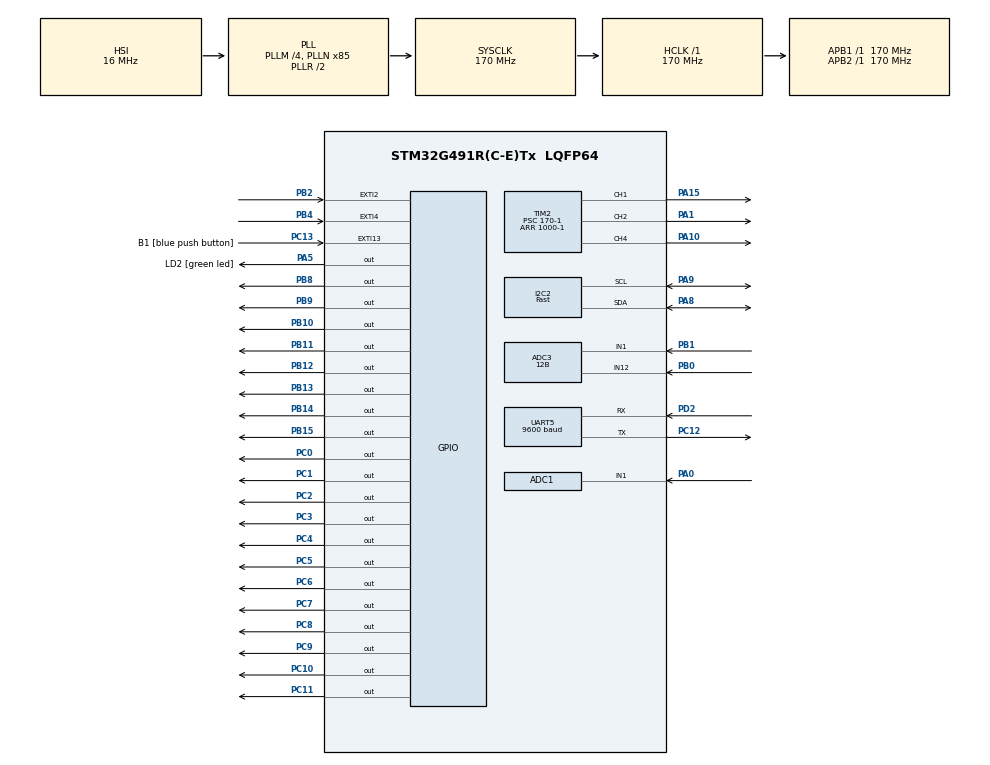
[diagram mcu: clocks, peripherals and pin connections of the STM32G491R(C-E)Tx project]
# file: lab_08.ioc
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ADC1.Channel-0\#ChannelRegularConversion=ADC_CHANNEL_1
ADC1.NbrOfConversion=1
ADC1.NbrOfConversionFlag=1
ADC1.OffsetNumber-0\#ChannelRegularConversion=ADC_OFFSET_NONE
ADC1.Rank-0\#ChannelRegularConversion=1
ADC1.Resolution=ADC_RESOLUTION_10B
ADC1.SamplingTime-0\#ChannelRegularConversion=ADC_SAMPLETIME_2CYCLES_5
ADC1.master=1
ADC3.Channel-0\#ChannelRegularConversion=ADC_CHANNEL_1
ADC3.Channel-1\#ChannelRegularConversion=ADC_CHANNEL_12
ADC3.ContinuousConvMode=DISABLE
ADC3.DiscontinuousConvMode=ENABLE
ADC3.LowPowerAutoWait=DISABLE
ADC3.NbrOfConversion=2
ADC3.NbrOfConversionFlag=1
ADC3.OffsetNumber-0\#ChannelRegularConversion=ADC_OFFSET_NONE
ADC3.OffsetNumber-1\#ChannelRegularConversion=ADC_OFFSET_NONE
ADC3.Rank-0\#ChannelRegularConversion=1
ADC3.Rank-1\#ChannelRegularConversion=2
ADC3.Resolution=ADC_RESOLUTION_12B
ADC3.SamplingTime-0\#ChannelRegularConversion=ADC_SAMPLETIME_2CYCLES_5
ADC3.SamplingTime-1\#ChannelRegularConversion=ADC_SAMPLETIME_2CYCLES_5
ADC3.master=1
I2C2.I2C_Speed_Mode=I2C_Fast
I2C2.Timing=0x40621236
Mcu.Family=STM32G4
Mcu.Name=STM32G491R(C-E)Tx
Mcu.Package=LQFP64
NVIC.ADC1_2_IRQn=true\:0\:0\:false\:false\:true\:true\:true\:true
NVIC.ADC3_IRQn=true\:0\:0\:false\:false\:true\:true\:true\:true
NVIC.EXTI15_10_IRQn=true\:0\:0\:false\:false\:true\:true\:true\:true
NVIC.EXTI2_IRQn=true\:0\:0\:false\:false\:true\:true\:true\:true
NVIC.EXTI4_IRQn=true\:0\:0\:false\:false\:true\:true\:true\:true
NVIC.I2C2_ER_IRQn=true\:0\:0\:false\:false\:true\:true\:true\:true
NVIC.I2C2_EV_IRQn=true\:0\:0\:false\:false\:true\:true\:true\:true
NVIC.PriorityGroup=NVIC_PRIORITYGROUP_4
NVIC.TIM1_UP_TIM16_IRQn=true\:0\:0\:false\:false\:true\:true\:true\:true
NVIC.TIM2_IRQn=true\:0\:0\:false\:false\:true\:true\:true\:true
NVIC.TIM3_IRQn=true\:0\:0\:false\:false\:true\:true\:true\:true
NVIC.TIM4_IRQn=true\:0\:0\:false\:false\:true\:true\:true\:true
NVIC.TIM8_CC_IRQn=true\:0\:0\:false\:false\:true\:true\:true\:true
NVIC.TIM8_UP_IRQn=true\:0\:0\:false\:false\:true\:true\:true\:true
NVIC.UART5_IRQn=true\:0\:0\:false\:false\:true\:true\:true\:true
PA0.Mode=IN1-Single-Ended
PA0.Signal=ADC1_IN1
PA1.Signal=S_TIM2_CH2
PA10.Signal=S_TIM2_CH4
PA13.GPIO_Label=T_SWDIO
PA13.Signal=SYS_JTMS-SWDIO
PA14.GPIO_Label=T_SWCLK
PA14.Signal=SYS_JTCK-SWCLK
PA15.Signal=S_TIM2_CH1
PA2.GPIO_Label=LPUART1_TX [STLINKV3E_VCP_RX]
PA2.Signal=LPUART1_TX
PA3.GPIO_Label=LPUART1_RX [STLINKV3E_VCP_TX]
PA3.Signal=LPUART1_RX
PA5.GPIO_Label=LD2 [green led]
PA5.Signal=GPIO_Output
PA8.GPIO_Pu=GPIO_PULLUP
PA8.GPIO_Speed=GPIO_SPEED_FREQ_HIGH
PA8.Mode=I2C
PA8.Signal=I2C2_SDA
PA9.GPIO_Pu=GPIO_PULLUP
PA9.GPIO_Speed=GPIO_SPEED_FREQ_HIGH
PA9.Mode=I2C
PA9.Signal=I2C2_SCL
PB0.Mode=IN12-Single-Ended
PB0.Signal=ADC3_IN12
PB1.Mode=IN1-Single-Ended
PB1.Signal=ADC3_IN1
PB10.Signal=GPIO_Output
PB11.Signal=GPIO_Output
PB12.Signal=GPIO_Output
PB13.Signal=GPIO_Output
PB14.Signal=GPIO_Output
PB15.Signal=GPIO_Output
PB2.Signal=GPXTI2
PB3.GPIO_Label=T_SWO
PB3.Signal=SYS_JTDO-SWO
PB4.Signal=GPXTI4
PB8-BOOT0.Signal=GPIO_Output
PB9.Signal=GPIO_Output
PC0.Signal=GPIO_Output
PC1.Signal=GPIO_Output
PC10.Signal=GPIO_Output
PC11.Signal=GPIO_Output
PC12.Mode=Asynchronous
PC12.Signal=UART5_TX
PC13.GPIO_Label=B1 [blue push button]
PC13.Signal=GPXTI13
PC14-OSC32_IN.GPIO_Label=RCC_OSC32_IN
PC14-OSC32_IN.Signal=RCC_OSC32_IN
PC15-OSC32_OUT.GPIO_Label=RCC_OSC32_OUT
PC15-OSC32_OUT.Signal=RCC_OSC32_OUT
PC2.Signal=GPIO_Output
PC3.Signal=GPIO_Output
PC4.Signal=GPIO_Output
PC5.Signal=GPIO_Output
PC6.Signal=GPIO_Output
PC7.Signal=GPIO_Output
PC8.Signal=GPIO_Output
PC9.Signal=GPIO_Output
PD2.Mode=Asynchronous
PD2.Signal=UART5_RX
PF0-OSC_IN.GPIO_Label=RCC_OSC_IN
PF0-OSC_IN.Signal=RCC_OSC_IN
PF1-OSC_OUT.GPIO_Label=RCC_OSC_OUT
PF1-OSC_OUT.Signal=RCC_OSC_OUT
ProjectManager.HeapSize=0x200
ProjectManager.StackSize=0x400
ProjectManager.TargetToolchain=STM32CubeIDE
RCC.ADC12Freq_Value=170000000
RCC.ADC345Freq_Value=170000000
RCC.AHBFreq_Value=170000000
RCC.APB1Freq_Value=170000000
RCC.APB1TimFreq_Value=170000000
RCC.APB2Freq_Value=170000000
RCC.APB2TimFreq_Value=170000000
RCC.CortexFreq_Value=170000000
RCC.EXTERNAL_CLOCK_VALUE=12288000
RCC.HCLKFreq_Value=170000000
RCC.HSE_VALUE=24000000
RCC.HSI48_VALUE=48000000
RCC.HSI_VALUE=16000000
RCC.LSE_VALUE=32768
RCC.PLLM=RCC_PLLM_DIV4
RCC.PLLN=85
RCC.RTCClockSelection=RCC_RTCCLKSOURCE_LSE
RCC.SYSCLKFreq_VALUE=170000000
RCC.SYSCLKSource=RCC_SYSCLKSOURCE_PLLCLK
RCC.USBFreq_Value=48000000
RCC.VCOOutputFreq_Value=340000000
SH.S_TIM2_CH1.0=TIM2_CH1,PWM Generation1 CH1
SH.S_TIM2_CH2.0=TIM2_CH2,PWM Generation2 CH2
SH.S_TIM2_CH4.0=TIM2_CH4,PWM Generation4 CH4
TIM1.PeriodNoDither=2000-1
TIM1.Prescaler=1700-1
TIM2.Channel-PWM\ Generation1\ CH1=TIM_CHANNEL_1
TIM2.Channel-PWM\ Generation2\ CH2=TIM_CHANNEL_2
TIM2.Channel-PWM\ Generation4\ CH4=TIM_CHANNEL_4
TIM2.PeriodNoDither=1000-1
TIM2.Prescaler=170-1
TIM3.PeriodNoDither=10000-1
TIM3.Prescaler=170-1
TIM4.PeriodNoDither=1000-1
TIM4.Prescaler=170-1
TIM8.PeriodNoDither=10000-1
TIM8.Prescaler=1700-1
UART5.BaudRate=9600
VP_SYS_VS_DBSignals.Mode=DisableDeadBatterySignals
VP_TIM1_VS_ClockSourceINT.Mode=Internal
VP_TIM2_VS_ClockSourceINT.Mode=Internal
VP_TIM3_VS_ClockSourceINT.Mode=Internal
VP_TIM4_VS_ClockSourceINT.Mode=Internal
VP_TIM8_VS_ClockSourceINT.Mode=Internal
board=NUCLEO-G491RE

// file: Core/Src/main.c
/* USER CODE BEGIN Header */
/**
  ******************************************************************************
  * @file           : main.c
  * @brief          : Main program body
  ******************************************************************************
  * @attention
  *
  * Copyright (c) 2025 STMicroelectronics.
  * All rights reserved.
  *
  * This software is licensed under terms that can be found in the LICENSE file
  * in the root directory of this software component.
  * If no LICENSE file comes with this software, it is provided AS-IS.
  *
  ******************************************************************************
  */
/* USER CODE END Header */
#include "main.h"

/* USER CODE BEGIN Includes */
#include <string.h>
#include <stdio.h>
#include "ssd1306.h"
#include "fonts.h"
#include "modoA.h"
#include "modoC.h"
#include "modoD.h"
#include "timers.h"
#include "interrup.h"
/* USER CODE END Includes */

ADC_HandleTypeDef hadc1;
ADC_HandleTypeDef hadc3;

I2C_HandleTypeDef hi2c2;

TIM_HandleTypeDef htim1;
TIM_HandleTypeDef htim2;
TIM_HandleTypeDef htim3;
TIM_HandleTypeDef htim4;
TIM_HandleTypeDef htim8;

UART_HandleTypeDef huart5;

/* USER CODE BEGIN PV */
int flagA=1,flagB=0,flagC=0,flagD=0,valorPWM;
int flag_horario=1;
int flag_antihorario=0;
int linha;
float leitura_ADCpercent;
int contador7seg;
int flag_count;
uint8_t modo;
char cont7seg_OLED[100];
char valorPWM_OLED[100];
char eixoX_OLED[100];
char eixoY_OLED[100];
int flagOLED=0;
int flagBT=0;

void HAL_UART_RxCpltCallback(UART_HandleTypeDef *huart){
	if(huart->Instance == UART5){
		if(modo=='a'){
			flagA=1;
			flagB=0;
			flagC=0;
			flagD=0;
			TIM2 -> CCR1 = 0;
			TIM2 -> CCR2 = 0;
			TIM2 -> CCR4 = 0;
		}
		if(modo=='b'){
			flagA=0;
			flagB=1;
			flagC=0;
			flagD=0;
			GPIOB -> ODR &= 0x0011;
			TIM2 -> CCR1 = 0;
			TIM2 -> CCR2 = 0;
			TIM2 -> CCR4 = 0;
			GPIOC -> ODR |= 0x00FF;
		}
		if(modo=='c'){
			flagA=0;
			flagB=0;
			flagC=1;
			flagD=0;
			OLED_Test();
		}
		if(modo=='d'){
			flagA=0;
			flagB=0;
			flagC=0;
			flagD=1;
			TIM2 -> CCR1 = 0;
			TIM2 -> CCR2 = 0;
			TIM2 -> CCR4 = 0;
			GPIOC -> ODR &= 0xF0FF;
		}
		HAL_UART_Receive_IT(&huart5, &modo, 1);
	}
}
/* USER CODE END PV */

void SystemClock_Config(void);
static void MX_GPIO_Init(void);
static void MX_ADC1_Init(void);
static void MX_ADC3_Init(void);
static void MX_I2C2_Init(void);
static void MX_TIM2_Init(void);
static void MX_UART5_Init(void);
static void MX_TIM1_Init(void);
static void MX_TIM3_Init(void);
static void MX_TIM4_Init(void);
static void MX_TIM8_Init(void);

int main(void)
{

  /* MCU Configuration--------------------------------------------------------*/

  /* Reset of all peripherals, Initializes the Flash interface and the Systick. */
  HAL_Init();

  /* Configure the system clock */
  SystemClock_Config();

  /* Initialize all configured peripherals */
  MX_GPIO_Init();
  MX_ADC1_Init();
  MX_ADC3_Init();
  MX_I2C2_Init();
  MX_TIM2_Init();
  MX_UART5_Init();
  MX_TIM1_Init();
  MX_TIM3_Init();
  MX_TIM4_Init();
  MX_TIM8_Init();

  /* Infinite loop */
  /* USER CODE BEGIN WHILE */
  HAL_TIM_Base_Start_IT(&htim1);
  HAL_TIM_Base_Start_IT(&htim2);
  HAL_TIM_Base_Start_IT(&htim3);
  HAL_TIM_Base_Start_IT(&htim4);
  HAL_TIM_Base_Start_IT(&htim8);
  HAL_TIM_PWM_Start(&htim2, TIM_CHANNEL_1);
  HAL_TIM_PWM_Start(&htim2, TIM_CHANNEL_2);
  HAL_TIM_PWM_Start(&htim2, TIM_CHANNEL_4);
  HAL_UART_Receive_IT(&huart5, &modo, 1);
  GPIOB -> PUPDR |= (0x00000110);
  while (1)
  {
	  if(flagOLED){
		  OLED_Test();
		  flagOLED=0;
	  }
	  if(flagA){
		  GPIOC->ODR |= 0x00FF;
		  sprintf(cont7seg_OLED,"cont=%d",contador7seg);
	  }
	  if(flagB){
		  sprintf(N_OLED,"pos=%d",N);
		  GPIOC -> ODR &= 0xF0FF;
		  GPIOC -> ODR |= (0x0100);
	  }
	  if(flagC){
		  if(flag_conf){
			  if(i_config>=150)
			  {
				  while((GPIOB -> IDR & 0x0004)==0){
				  }
			  }

			  if(flag_red){
			  	  TIM2 -> CCR1 = valorPWM; //escreve o valor do PWM em CCR1
		  	  }
		  	  if(flag_green){
			  	  TIM2 -> CCR2 = valorPWM; //escreve o valor do PWM em CCR1
		  	  }
		  	  if(flag_blue){
			  	  TIM2 -> CCR4 = valorPWM; //escreve o valor do PWM em CCR1
		  	  }
		  	  if((GPIOB -> IDR & 0x0004)==0){ //caso o botão seja apertado novamente, ele zera a flag
		  		  flag_conf=0;
		  	  }
		  	sprintf(valorPWM_OLED,"duty=%d",valorPWM);
		  }
	  }
	  if(flagD){
		  sprintf(eixoY_OLED,"Y=%d",eixoX);
		  sprintf(eixoX_OLED,"X=%d",eixoY);

	  }
	  if(flagBT){
			if(flagA){
				HAL_UART_Transmit(&huart5, cont7seg_OLED, strlen(cont7seg_OLED), 10);
				HAL_UART_Transmit(&huart5, "\n", strlen("\n"), 10);
			}
			if(flagB){
				HAL_UART_Transmit(&huart5, N_OLED, strlen(N_OLED), 10);
				HAL_UART_Transmit(&huart5, "\n", strlen("\n"), 10);
			}
			if(flagC){
				HAL_UART_Transmit(&huart5, valorPWM_OLED, strlen(valorPWM_OLED), 10);
				HAL_UART_Transmit(&huart5, "\n", strlen("\n"), 10);
			}
			if(flagD){
				HAL_UART_Transmit(&huart5, eixoX_OLED, strlen(eixoX_OLED), 10);
				HAL_UART_Transmit(&huart5, "\n", strlen("\n"), 10);
				HAL_UART_Transmit(&huart5, eixoY_OLED, strlen(eixoY_OLED), 10);
				HAL_UART_Transmit(&huart5, "\n", strlen("\n"), 10);
			}
			flagBT=0;
		}
    /* USER CODE END WHILE */

  }
}

void SystemClock_Config(void)
{
  RCC_OscInitTypeDef RCC_OscInitStruct = {0};
  RCC_ClkInitTypeDef RCC_ClkInitStruct = {0};

  /** Configure the main internal regulator output voltage
  */
  HAL_PWREx_ControlVoltageScaling(PWR_REGULATOR_VOLTAGE_SCALE1_BOOST);

  /** Initializes the RCC Oscillators according to the specified parameters
  * in the RCC_OscInitTypeDef structure.
  */
  RCC_OscInitStruct.OscillatorType = RCC_OSCILLATORTYPE_HSI;
  RCC_OscInitStruct.HSIState = RCC_HSI_ON;
  RCC_OscInitStruct.HSICalibrationValue = RCC_HSICALIBRATION_DEFAULT;
  RCC_OscInitStruct.PLL.PLLState = RCC_PLL_ON;
  RCC_OscInitStruct.PLL.PLLSource = RCC_PLLSOURCE_HSI;
  RCC_OscInitStruct.PLL.PLLM = RCC_PLLM_DIV4;
  RCC_OscInitStruct.PLL.PLLN = 85;
  RCC_OscInitStruct.PLL.PLLP = RCC_PLLP_DIV2;
  RCC_OscInitStruct.PLL.PLLQ = RCC_PLLQ_DIV2;
  RCC_OscInitStruct.PLL.PLLR = RCC_PLLR_DIV2;
  if (HAL_RCC_OscConfig(&RCC_OscInitStruct) != HAL_OK)
  {
    Error_Handler();
  }

  /** Initializes the CPU, AHB and APB buses clocks
  */
  RCC_ClkInitStruct.ClockType = RCC_CLOCKTYPE_HCLK|RCC_CLOCKTYPE_SYSCLK
                              |RCC_CLOCKTYPE_PCLK1|RCC_CLOCKTYPE_PCLK2;
  RCC_ClkInitStruct.SYSCLKSource = RCC_SYSCLKSOURCE_PLLCLK;
  RCC_ClkInitStruct.AHBCLKDivider = RCC_SYSCLK_DIV1;
  RCC_ClkInitStruct.APB1CLKDivider = RCC_HCLK_DIV1;
  RCC_ClkInitStruct.APB2CLKDivider = RCC_HCLK_DIV1;

  if (HAL_RCC_ClockConfig(&RCC_ClkInitStruct, FLASH_LATENCY_4) != HAL_OK)
  {
    Error_Handler();
  }
}

static void MX_ADC1_Init(void)
{

  ADC_MultiModeTypeDef multimode = {0};
  ADC_ChannelConfTypeDef sConfig = {0};

  /** Common config
  */
  hadc1.Instance = ADC1;
  hadc1.Init.ClockPrescaler = ADC_CLOCK_SYNC_PCLK_DIV4;
  hadc1.Init.Resolution = ADC_RESOLUTION_10B;
  hadc1.Init.DataAlign = ADC_DATAALIGN_RIGHT;
  hadc1.Init.GainCompensation = 0;
  hadc1.Init.ScanConvMode = ADC_SCAN_DISABLE;
  hadc1.Init.EOCSelection = ADC_EOC_SINGLE_CONV;
  hadc1.Init.LowPowerAutoWait = DISABLE;
  hadc1.Init.ContinuousConvMode = DISABLE;
  hadc1.Init.NbrOfConversion = 1;
  hadc1.Init.DiscontinuousConvMode = DISABLE;
  hadc1.Init.ExternalTrigConv = ADC_SOFTWARE_START;
  hadc1.Init.ExternalTrigConvEdge = ADC_EXTERNALTRIGCONVEDGE_NONE;
  hadc1.Init.DMAContinuousRequests = DISABLE;
  hadc1.Init.Overrun = ADC_OVR_DATA_PRESERVED;
  hadc1.Init.OversamplingMode = DISABLE;
  if (HAL_ADC_Init(&hadc1) != HAL_OK)
  {
    Error_Handler();
  }

  /** Configure the ADC multi-mode
  */
  multimode.Mode = ADC_MODE_INDEPENDENT;
  if (HAL_ADCEx_MultiModeConfigChannel(&hadc1, &multimode) != HAL_OK)
  {
    Error_Handler();
  }

  /** Configure Regular Channel
  */
  sConfig.Channel = ADC_CHANNEL_1;
  sConfig.Rank = ADC_REGULAR_RANK_1;
  sConfig.SamplingTime = ADC_SAMPLETIME_2CYCLES_5;
  sConfig.SingleDiff = ADC_SINGLE_ENDED;
  sConfig.OffsetNumber = ADC_OFFSET_NONE;
  sConfig.Offset = 0;
  if (HAL_ADC_ConfigChannel(&hadc1, &sConfig) != HAL_OK)
  {
    Error_Handler();
  }

}

static void MX_ADC3_Init(void)
{

  ADC_ChannelConfTypeDef sConfig = {0};

  /** Common config
  */
  hadc3.Instance = ADC3;
  hadc3.Init.ClockPrescaler = ADC_CLOCK_SYNC_PCLK_DIV4;
  hadc3.Init.Resolution = ADC_RESOLUTION_12B;
  hadc3.Init.DataAlign = ADC_DATAALIGN_RIGHT;
  hadc3.Init.GainCompensation = 0;
  hadc3.Init.ScanConvMode = ADC_SCAN_ENABLE;
  hadc3.Init.EOCSelection = ADC_EOC_SINGLE_CONV;
  hadc3.Init.LowPowerAutoWait = DISABLE;
  hadc3.Init.ContinuousConvMode = DISABLE;
  hadc3.Init.NbrOfConversion = 2;
  hadc3.Init.DiscontinuousConvMode = ENABLE;
  hadc3.Init.NbrOfDiscConversion = 1;
  hadc3.Init.ExternalTrigConv = ADC_SOFTWARE_START;
  hadc3.Init.ExternalTrigConvEdge = ADC_EXTERNALTRIGCONVEDGE_NONE;
  hadc3.Init.DMAContinuousRequests = DISABLE;
  hadc3.Init.Overrun = ADC_OVR_DATA_PRESERVED;
  hadc3.Init.OversamplingMode = DISABLE;
  if (HAL_ADC_Init(&hadc3) != HAL_OK)
  {
    Error_Handler();
  }

  /** Configure Regular Channel
  */
  sConfig.Channel = ADC_CHANNEL_1;
  sConfig.Rank = ADC_REGULAR_RANK_1;
  sConfig.SamplingTime = ADC_SAMPLETIME_2CYCLES_5;
  sConfig.SingleDiff = ADC_SINGLE_ENDED;
  sConfig.OffsetNumber = ADC_OFFSET_NONE;
  sConfig.Offset = 0;
  if (HAL_ADC_ConfigChannel(&hadc3, &sConfig) != HAL_OK)
  {
    Error_Handler();
  }

  /** Configure Regular Channel
  */
  sConfig.Channel = ADC_CHANNEL_12;
  sConfig.Rank = ADC_REGULAR_RANK_2;
  if (HAL_ADC_ConfigChannel(&hadc3, &sConfig) != HAL_OK)
  {
    Error_Handler();
  }

}

static void MX_I2C2_Init(void)
{

  hi2c2.Instance = I2C2;
  hi2c2.Init.Timing = 0x40621236;
  hi2c2.Init.OwnAddress1 = 0;
  hi2c2.Init.AddressingMode = I2C_ADDRESSINGMODE_7BIT;
  hi2c2.Init.DualAddressMode = I2C_DUALADDRESS_DISABLE;
  hi2c2.Init.OwnAddress2 = 0;
  hi2c2.Init.OwnAddress2Masks = I2C_OA2_NOMASK;
  hi2c2.Init.GeneralCallMode = I2C_GENERALCALL_DISABLE;
  hi2c2.Init.NoStretchMode = I2C_NOSTRETCH_DISABLE;
  if (HAL_I2C_Init(&hi2c2) != HAL_OK)
  {
    Error_Handler();
  }

  /** Configure Analogue filter
  */
  if (HAL_I2CEx_ConfigAnalogFilter(&hi2c2, I2C_ANALOGFILTER_ENABLE) != HAL_OK)
  {
    Error_Handler();
  }

  /** Configure Digital filter
  */
  if (HAL_I2CEx_ConfigDigitalFilter(&hi2c2, 0) != HAL_OK)
  {
    Error_Handler();
  }

}

static void MX_TIM1_Init(void)
{

  TIM_ClockConfigTypeDef sClockSourceConfig = {0};
  TIM_MasterConfigTypeDef sMasterConfig = {0};

  htim1.Instance = TIM1;
  htim1.Init.Prescaler = 1700-1;
  htim1.Init.CounterMode = TIM_COUNTERMODE_UP;
  htim1.Init.Period = 1999;
  htim1.Init.ClockDivision = TIM_CLOCKDIVISION_DIV1;
  htim1.Init.RepetitionCounter = 0;
  htim1.Init.AutoReloadPreload = TIM_AUTORELOAD_PRELOAD_DISABLE;
  if (HAL_TIM_Base_Init(&htim1) != HAL_OK)
  {
    Error_Handler();
  }
  sClockSourceConfig.ClockSource = TIM_CLOCKSOURCE_INTERNAL;
  if (HAL_TIM_ConfigClockSource(&htim1, &sClockSourceConfig) != HAL_OK)
  {
    Error_Handler();
  }
  sMasterConfig.MasterOutputTrigger = TIM_TRGO_RESET;
  sMasterConfig.MasterOutputTrigger2 = TIM_TRGO2_RESET;
  sMasterConfig.MasterSlaveMode = TIM_MASTERSLAVEMODE_DISABLE;
  if (HAL_TIMEx_MasterConfigSynchronization(&htim1, &sMasterConfig) != HAL_OK)
  {
    Error_Handler();
  }

}

static void MX_TIM2_Init(void)
{

  TIM_ClockConfigTypeDef sClockSourceConfig = {0};
  TIM_MasterConfigTypeDef sMasterConfig = {0};
  TIM_OC_InitTypeDef sConfigOC = {0};

  htim2.Instance = TIM2;
  htim2.Init.Prescaler = 170-1;
  htim2.Init.CounterMode = TIM_COUNTERMODE_UP;
  htim2.Init.Period = 999;
  htim2.Init.ClockDivision = TIM_CLOCKDIVISION_DIV1;
  htim2.Init.AutoReloadPreload = TIM_AUTORELOAD_PRELOAD_DISABLE;
  if (HAL_TIM_Base_Init(&htim2) != HAL_OK)
  {
    Error_Handler();
  }
  sClockSourceConfig.ClockSource = TIM_CLOCKSOURCE_INTERNAL;
  if (HAL_TIM_ConfigClockSource(&htim2, &sClockSourceConfig) != HAL_OK)
  {
    Error_Handler();
  }
  if (HAL_TIM_PWM_Init(&htim2) != HAL_OK)
  {
    Error_Handler();
  }
  sMasterConfig.MasterOutputTrigger = TIM_TRGO_RESET;
  sMasterConfig.MasterSlaveMode = TIM_MASTERSLAVEMODE_DISABLE;
  if (HAL_TIMEx_MasterConfigSynchronization(&htim2, &sMasterConfig) != HAL_OK)
  {
    Error_Handler();
  }
  sConfigOC.OCMode = TIM_OCMODE_PWM1;
  sConfigOC.Pulse = 0;
  sConfigOC.OCPolarity = TIM_OCPOLARITY_HIGH;
  sConfigOC.OCFastMode = TIM_OCFAST_DISABLE;
  if (HAL_TIM_PWM_ConfigChannel(&htim2, &sConfigOC, TIM_CHANNEL_1) != HAL_OK)
  {
    Error_Handler();
  }
  if (HAL_TIM_PWM_ConfigChannel(&htim2, &sConfigOC, TIM_CHANNEL_2) != HAL_OK)
  {
    Error_Handler();
  }
  if (HAL_TIM_PWM_ConfigChannel(&htim2, &sConfigOC, TIM_CHANNEL_4) != HAL_OK)
  {
    Error_Handler();
  }
  HAL_TIM_MspPostInit(&htim2);

}

static void MX_TIM3_Init(void)
{

  TIM_ClockConfigTypeDef sClockSourceConfig = {0};
  TIM_MasterConfigTypeDef sMasterConfig = {0};

  htim3.Instance = TIM3;
  htim3.Init.Prescaler = 170-1;
  htim3.Init.CounterMode = TIM_COUNTERMODE_UP;
  htim3.Init.Period = 9999;
  htim3.Init.ClockDivision = TIM_CLOCKDIVISION_DIV1;
  htim3.Init.AutoReloadPreload = TIM_AUTORELOAD_PRELOAD_DISABLE;
  if (HAL_TIM_Base_Init(&htim3) != HAL_OK)
  {
    Error_Handler();
  }
  sClockSourceConfig.ClockSource = TIM_CLOCKSOURCE_INTERNAL;
  if (HAL_TIM_ConfigClockSource(&htim3, &sClockSourceConfig) != HAL_OK)
  {
    Error_Handler();
  }
  sMasterConfig.MasterOutputTrigger = TIM_TRGO_RESET;
  sMasterConfig.MasterSlaveMode = TIM_MASTERSLAVEMODE_DISABLE;
  if (HAL_TIMEx_MasterConfigSynchronization(&htim3, &sMasterConfig) != HAL_OK)
  {
    Error_Handler();
  }

}

static void MX_TIM4_Init(void)
{

  TIM_ClockConfigTypeDef sClockSourceConfig = {0};
  TIM_MasterConfigTypeDef sMasterConfig = {0};

  htim4.Instance = TIM4;
  htim4.Init.Prescaler = 170-1;
  htim4.Init.CounterMode = TIM_COUNTERMODE_UP;
  htim4.Init.Period = 999;
  htim4.Init.ClockDivision = TIM_CLOCKDIVISION_DIV1;
  htim4.Init.AutoReloadPreload = TIM_AUTORELOAD_PRELOAD_DISABLE;
  if (HAL_TIM_Base_Init(&htim4) != HAL_OK)
  {
    Error_Handler();
  }
  sClockSourceConfig.ClockSource = TIM_CLOCKSOURCE_INTERNAL;
  if (HAL_TIM_ConfigClockSource(&htim4, &sClockSourceConfig) != HAL_OK)
  {
    Error_Handler();
  }
  sMasterConfig.MasterOutputTrigger = TIM_TRGO_RESET;
  sMasterConfig.MasterSlaveMode = TIM_MASTERSLAVEMODE_DISABLE;
  if (HAL_TIMEx_MasterConfigSynchronization(&htim4, &sMasterConfig) != HAL_OK)
  {
    Error_Handler();
  }

}

static void MX_TIM8_Init(void)
{

  TIM_ClockConfigTypeDef sClockSourceConfig = {0};
  TIM_MasterConfigTypeDef sMasterConfig = {0};

  htim8.Instance = TIM8;
  htim8.Init.Prescaler = 1700-1;
  htim8.Init.CounterMode = TIM_COUNTERMODE_UP;
  htim8.Init.Period = 9999;
  htim8.Init.ClockDivision = TIM_CLOCKDIVISION_DIV1;
  htim8.Init.RepetitionCounter = 0;
  htim8.Init.AutoReloadPreload = TIM_AUTORELOAD_PRELOAD_DISABLE;
  if (HAL_TIM_Base_Init(&htim8) != HAL_OK)
  {
    Error_Handler();
  }
  sClockSourceConfig.ClockSource = TIM_CLOCKSOURCE_INTERNAL;
  if (HAL_TIM_ConfigClockSource(&htim8, &sClockSourceConfig) != HAL_OK)
  {
    Error_Handler();
  }
  sMasterConfig.MasterOutputTrigger = TIM_TRGO_RESET;
  sMasterConfig.MasterOutputTrigger2 = TIM_TRGO2_RESET;
  sMasterConfig.MasterSlaveMode = TIM_MASTERSLAVEMODE_DISABLE;
  if (HAL_TIMEx_MasterConfigSynchronization(&htim8, &sMasterConfig) != HAL_OK)
  {
    Error_Handler();
  }

}

static void MX_UART5_Init(void)
{

  huart5.Instance = UART5;
  huart5.Init.BaudRate = 9600;
  huart5.Init.WordLength = UART_WORDLENGTH_8B;
  huart5.Init.StopBits = UART_STOPBITS_1;
  huart5.Init.Parity = UART_PARITY_NONE;
  huart5.Init.Mode = UART_MODE_TX_RX;
  huart5.Init.HwFlowCtl = UART_HWCONTROL_NONE;
  huart5.Init.OverSampling = UART_OVERSAMPLING_16;
  huart5.Init.OneBitSampling = UART_ONE_BIT_SAMPLE_DISABLE;
  huart5.Init.ClockPrescaler = UART_PRESCALER_DIV1;
  huart5.AdvancedInit.AdvFeatureInit = UART_ADVFEATURE_NO_INIT;
  if (HAL_UART_Init(&huart5) != HAL_OK)
  {
    Error_Handler();
  }
  if (HAL_UARTEx_SetTxFifoThreshold(&huart5, UART_TXFIFO_THRESHOLD_1_8) != HAL_OK)
  {
    Error_Handler();
  }
  if (HAL_UARTEx_SetRxFifoThreshold(&huart5, UART_RXFIFO_THRESHOLD_1_8) != HAL_OK)
  {
    Error_Handler();
  }
  if (HAL_UARTEx_DisableFifoMode(&huart5) != HAL_OK)
  {
    Error_Handler();
  }

}

static void MX_GPIO_Init(void)
{
  GPIO_InitTypeDef GPIO_InitStruct = {0};

  /* GPIO Ports Clock Enable */
  __HAL_RCC_GPIOC_CLK_ENABLE();
  __HAL_RCC_GPIOF_CLK_ENABLE();
  __HAL_RCC_GPIOA_CLK_ENABLE();
  __HAL_RCC_GPIOB_CLK_ENABLE();
  __HAL_RCC_GPIOD_CLK_ENABLE();

  /*Configure GPIO pin Output Level */
  HAL_GPIO_WritePin(GPIOC, GPIO_PIN_0|GPIO_PIN_1|GPIO_PIN_2|GPIO_PIN_3
                          |GPIO_PIN_4|GPIO_PIN_5|GPIO_PIN_6|GPIO_PIN_7
                          |GPIO_PIN_8|GPIO_PIN_9|GPIO_PIN_10|GPIO_PIN_11, GPIO_PIN_RESET);

  /*Configure GPIO pin Output Level */
  HAL_GPIO_WritePin(LD2_GPIO_Port, LD2_Pin, GPIO_PIN_RESET);

  /*Configure GPIO pin Output Level */
  HAL_GPIO_WritePin(GPIOB, GPIO_PIN_10|GPIO_PIN_11|GPIO_PIN_12|GPIO_PIN_13
                          |GPIO_PIN_14|GPIO_PIN_15|GPIO_PIN_8|GPIO_PIN_9, GPIO_PIN_RESET);

  /*Configure GPIO pin : B1_Pin */
  GPIO_InitStruct.Pin = B1_Pin;
  GPIO_InitStruct.Mode = GPIO_MODE_IT_RISING;
  GPIO_InitStruct.Pull = GPIO_NOPULL;
  HAL_GPIO_Init(B1_GPIO_Port, &GPIO_InitStruct);

  /*Configure GPIO pins : PC0 PC1 PC2 PC3
                           PC4 PC5 PC6 PC7
                           PC8 PC9 PC10 PC11 */
  GPIO_InitStruct.Pin = GPIO_PIN_0|GPIO_PIN_1|GPIO_PIN_2|GPIO_PIN_3
                          |GPIO_PIN_4|GPIO_PIN_5|GPIO_PIN_6|GPIO_PIN_7
                          |GPIO_PIN_8|GPIO_PIN_9|GPIO_PIN_10|GPIO_PIN_11;
  GPIO_InitStruct.Mode = GPIO_MODE_OUTPUT_PP;
  GPIO_InitStruct.Pull = GPIO_NOPULL;
  GPIO_InitStruct.Speed = GPIO_SPEED_FREQ_LOW;
  HAL_GPIO_Init(GPIOC, &GPIO_InitStruct);

  /*Configure GPIO pins : LPUART1_TX_Pin LPUART1_RX_Pin */
  GPIO_InitStruct.Pin = LPUART1_TX_Pin|LPUART1_RX_Pin;
  GPIO_InitStruct.Mode = GPIO_MODE_AF_PP;
  GPIO_InitStruct.Pull = GPIO_NOPULL;
  GPIO_InitStruct.Speed = GPIO_SPEED_FREQ_LOW;
  GPIO_InitStruct.Alternate = GPIO_AF12_LPUART1;
  HAL_GPIO_Init(GPIOA, &GPIO_InitStruct);

  /*Configure GPIO pin : LD2_Pin */
  GPIO_InitStruct.Pin = LD2_Pin;
  GPIO_InitStruct.Mode = GPIO_MODE_OUTPUT_PP;
  GPIO_InitStruct.Pull = GPIO_NOPULL;
  GPIO_InitStruct.Speed = GPIO_SPEED_FREQ_LOW;
  HAL_GPIO_Init(LD2_GPIO_Port, &GPIO_InitStruct);

  /*Configure GPIO pins : PB2 PB4 */
  GPIO_InitStruct.Pin = GPIO_PIN_2|GPIO_PIN_4;
  GPIO_InitStruct.Mode = GPIO_MODE_IT_RISING;
  GPIO_InitStruct.Pull = GPIO_NOPULL;
  HAL_GPIO_Init(GPIOB, &GPIO_InitStruct);

  /*Configure GPIO pins : PB10 PB11 PB12 PB13
                           PB14 PB15 PB8 PB9 */
  GPIO_InitStruct.Pin = GPIO_PIN_10|GPIO_PIN_11|GPIO_PIN_12|GPIO_PIN_13
                          |GPIO_PIN_14|GPIO_PIN_15|GPIO_PIN_8|GPIO_PIN_9;
  GPIO_InitStruct.Mode = GPIO_MODE_OUTPUT_PP;
  GPIO_InitStruct.Pull = GPIO_NOPULL;
  GPIO_InitStruct.Speed = GPIO_SPEED_FREQ_LOW;
  HAL_GPIO_Init(GPIOB, &GPIO_InitStruct);

  /* EXTI interrupt init*/
  HAL_NVIC_SetPriority(EXTI2_IRQn, 0, 0);
  HAL_NVIC_EnableIRQ(EXTI2_IRQn);

  HAL_NVIC_SetPriority(EXTI4_IRQn, 0, 0);
  HAL_NVIC_EnableIRQ(EXTI4_IRQn);

  HAL_NVIC_SetPriority(EXTI15_10_IRQn, 0, 0);
  HAL_NVIC_EnableIRQ(EXTI15_10_IRQn);

}

void Error_Handler(void)
{
  __disable_irq();
  while (1)
  {
  }
}
